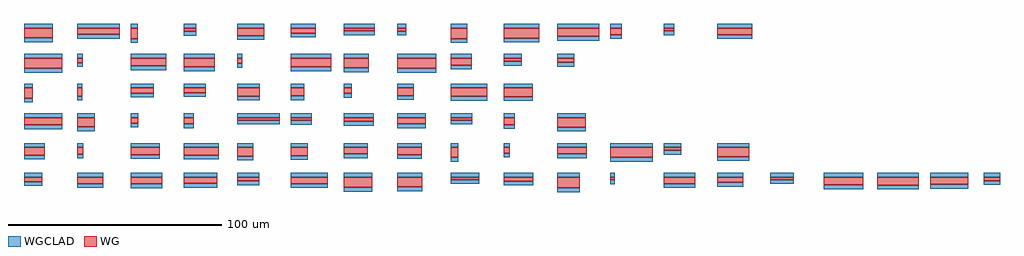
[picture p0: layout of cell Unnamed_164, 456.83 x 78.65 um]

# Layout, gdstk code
import gdstk
lib = gdstk.Library(unit=1e-6, precision=1e-09)
def R(c, l, rs):  # rectangles x0, y0, x1, y1
    for r in rs: c.add(gdstk.rectangle(r[:2], r[2:], *l))
WG = (1, 0)
WGCLAD = (111, 0)

straight_w2982_l16473_lw = lib.new_cell('straight_W2982_L16473_LWG_EWGSTD')
R(straight_w2982_l16473_lw, WG, [(0,-1.491,16.473,1.491)])
R(straight_w2982_l16473_lw, WGCLAD, [(0,-3.491,16.473,-1.491), (0,1.491,16.473,3.491)])

straight_w1274_l4901_lwg = lib.new_cell('straight_W1274_L4901_LWG_EWGSTD')
R(straight_w1274_l4901_lwg, WG, [(0,-0.637,4.901,0.637)])
R(straight_w1274_l4901_lwg, WGCLAD, [(0,-2.637,4.901,-0.637), (0,0.637,4.901,2.637)])

straight_w2978_l5165_lwg = lib.new_cell('straight_W2978_L5165_LWG_EWGSTD')
R(straight_w2978_l5165_lwg, WG, [(0,-1.489,5.165,1.489)])
R(straight_w2978_l5165_lwg, WGCLAD, [(0,-3.489,5.165,-1.489), (0,1.489,5.165,3.489)])

straight_w3844_l19599_lw = lib.new_cell('straight_W3844_L19599_LWG_EWGSTD')
R(straight_w3844_l19599_lw, WG, [(0,-1.922,19.599,1.922)])
R(straight_w3844_l19599_lw, WGCLAD, [(0,-3.922,19.599,-1.922), (0,1.922,19.599,3.922)])

straight_w4666_l16503_lw = lib.new_cell('straight_W4666_L16503_LWG_EWGSTD')
R(straight_w4666_l16503_lw, WG, [(0,-2.333,16.503,2.333)])
R(straight_w4666_l16503_lw, WGCLAD, [(0,-4.333,16.503,-2.333), (0,2.333,16.503,4.333)])

straight_w4852_l7796_lwg = lib.new_cell('straight_W4852_L7796_LWG_EWGSTD')
R(straight_w4852_l7796_lwg, WG, [(0,-2.426,7.796,2.426)])
R(straight_w4852_l7796_lwg, WGCLAD, [(0,-4.426,7.796,-2.426), (0,2.426,7.796,4.426)])

straight_w1374_l4314_lwg = lib.new_cell('straight_W1374_L4314_LWG_EWGSTD')
R(straight_w1374_l4314_lwg, WG, [(0,-0.687,4.314,0.687)])
R(straight_w1374_l4314_lwg, WGCLAD, [(0,-2.687,4.314,-0.687), (0,0.687,4.314,2.687)])

straight_w1218_l14391_lw = lib.new_cell('straight_W1218_L14391_LWG_EWGSTD')
R(straight_w1218_l14391_lw, WG, [(0,-0.609,14.391,0.609)])
R(straight_w1218_l14391_lw, WGCLAD, [(0,-2.609,14.391,-0.609), (0,0.609,14.391,2.609)])

straight_w2252_l11706_lw = lib.new_cell('straight_W2252_L11706_LWG_EWGSTD')
R(straight_w2252_l11706_lw, WG, [(0,-1.126,11.706,1.126)])
R(straight_w2252_l11706_lw, WGCLAD, [(0,-3.126,11.706,-1.126), (0,1.126,11.706,3.126)])

straight_w3446_l12726_lw = lib.new_cell('straight_W3446_L12726_LWG_EWGSTD')
R(straight_w3446_l12726_lw, WG, [(0,-1.723,12.726,1.723)])
R(straight_w3446_l12726_lw, WGCLAD, [(0,-3.723,12.726,-1.723), (0,1.723,12.726,3.723)])

straight_w1474_l5738_lwg = lib.new_cell('straight_W1474_L5738_LWG_EWGSTD')
R(straight_w1474_l5738_lwg, WG, [(0,-0.737,5.738,0.737)])
R(straight_w1474_l5738_lwg, WGCLAD, [(0,-2.737,5.738,-0.737), (0,0.737,5.738,2.737)])

straight_w4808_l3433_lwg = lib.new_cell('straight_W4808_L3433_LWG_EWGSTD')
R(straight_w4808_l3433_lwg, WG, [(0,-2.404,3.433,2.404)])
R(straight_w4808_l3433_lwg, WGCLAD, [(0,-4.404,3.433,-2.404), (0,2.404,3.433,4.404)])

straight_w2866_l19955_lw = lib.new_cell('straight_W2866_L19955_LWG_EWGSTD')
R(straight_w2866_l19955_lw, WG, [(0,-1.433,19.955,1.433)])
R(straight_w2866_l19955_lw, WGCLAD, [(0,-3.433,19.955,-1.433), (0,1.433,19.955,3.433)])

straight_w4454_l13430_lw = lib.new_cell('straight_W4454_L13430_LWG_EWGSTD')
R(straight_w4454_l13430_lw, WG, [(0,-2.227,13.43,2.227)])
R(straight_w4454_l13430_lw, WGCLAD, [(0,-4.227,13.43,-2.227), (0,2.227,13.43,4.227)])

straight_w2072_l7991_lwg = lib.new_cell('straight_W2072_L7991_LWG_EWGSTD')
R(straight_w2072_l7991_lwg, WG, [(0,-1.036,7.991,1.036)])
R(straight_w2072_l7991_lwg, WGCLAD, [(0,-3.036,7.991,-1.036), (0,1.036,7.991,3.036)])

straight_w1538_l8272_lwg = lib.new_cell('straight_W1538_L8272_LWG_EWGSTD')
R(straight_w1538_l8272_lwg, WG, [(0,-0.769,8.272,0.769)])
R(straight_w1538_l8272_lwg, WGCLAD, [(0,-2.769,8.272,-0.769), (0,0.769,8.272,2.769)])

straight_w3296_l10035_lw = lib.new_cell('straight_W3296_L10035_LWG_EWGSTD')
R(straight_w3296_l10035_lw, WG, [(0,-1.648,10.035,1.648)])
R(straight_w3296_l10035_lw, WGCLAD, [(0,-3.648,10.035,-1.648), (0,1.648,10.035,3.648)])

straight_w4866_l18319_lw = lib.new_cell('straight_W4866_L18319_LWG_EWGSTD')
R(straight_w4866_l18319_lw, WG, [(0,-2.433,18.319,2.433)])
R(straight_w4866_l18319_lw, WGCLAD, [(0,-4.433,18.319,-2.433), (0,2.433,18.319,4.433)])

straight_w4584_l11743_lw = lib.new_cell('straight_W4584_L11743_LWG_EWGSTD')
R(straight_w4584_l11743_lw, WG, [(0,-2.292,11.743,2.292)])
R(straight_w4584_l11743_lw, WGCLAD, [(0,-4.292,11.743,-2.292), (0,2.292,11.743,4.292)])

straight_w4130_l19123_lw = lib.new_cell('straight_W4130_L19123_LWG_EWGSTD')
R(straight_w4130_l19123_lw, WG, [(0,-2.065,19.123,2.065)])
R(straight_w4130_l19123_lw, WGCLAD, [(0,-4.065,19.123,-2.065), (0,2.065,19.123,4.065)])

straight_w3420_l11395_lw = lib.new_cell('straight_W3420_L11395_LWG_EWGSTD')
R(straight_w3420_l11395_lw, WG, [(0,-1.71,11.395,1.71)])
R(straight_w3420_l11395_lw, WGCLAD, [(0,-3.71,11.395,-1.71), (0,1.71,11.395,3.71)])

straight_w1166_l19788_lw = lib.new_cell('straight_W1166_L19788_LWG_EWGSTD')
R(straight_w1166_l19788_lw, WG, [(0,-0.583,19.788,0.583)])
R(straight_w1166_l19788_lw, WGCLAD, [(0,-2.583,19.788,-0.583), (0,0.583,19.788,2.583)])

straight_w3832_l10503_lw = lib.new_cell('straight_W3832_L10503_LWG_EWGSTD')
R(straight_w3832_l10503_lw, WG, [(0,-1.916,10.503,1.916)])
R(straight_w3832_l10503_lw, WGCLAD, [(0,-3.916,10.503,-1.916), (0,1.916,10.503,3.916)])

straight_w2982_l11087_lw = lib.new_cell('straight_W2982_L11087_LWG_EWGSTD')
R(straight_w2982_l11087_lw, WG, [(0,-1.491,11.087,1.491)])
R(straight_w2982_l11087_lw, WGCLAD, [(0,-3.491,11.087,-1.491), (0,1.491,11.087,3.491)])

straight_w2964_l4688_lwg = lib.new_cell('straight_W2964_L4688_LWG_EWGSTD')
R(straight_w2964_l4688_lwg, WG, [(0,-1.482,4.688,1.482)])
R(straight_w2964_l4688_lwg, WGCLAD, [(0,-3.482,4.688,-1.482), (0,1.482,4.688,3.482)])

straight_w2202_l10263_lw = lib.new_cell('straight_W2202_L10263_LWG_EWGSTD')
R(straight_w2202_l10263_lw, WG, [(0,-1.101,10.263,1.101)])
R(straight_w2202_l10263_lw, WGCLAD, [(0,-3.101,10.263,-1.101), (0,1.101,10.263,3.101)])

straight_w3824_l8001_lwg = lib.new_cell('straight_W3824_L8001_LWG_EWGSTD')
R(straight_w3824_l8001_lwg, WG, [(0,-1.912,8.001,1.912)])
R(straight_w3824_l8001_lwg, WGCLAD, [(0,-3.912,8.001,-1.912), (0,1.912,8.001,3.912)])

straight_w2530_l3603_lwg = lib.new_cell('straight_W2530_L3603_LWG_EWGSTD')
R(straight_w2530_l3603_lwg, WG, [(0,-1.265,3.603,1.265)])
R(straight_w2530_l3603_lwg, WGCLAD, [(0,-3.265,3.603,-1.265), (0,1.265,3.603,3.265)])

straight_w2478_l10864_lw = lib.new_cell('straight_W2478_L10864_LWG_EWGSTD')
R(straight_w2478_l10864_lw, WG, [(0,-1.239,10.864,1.239)])
R(straight_w2478_l10864_lw, WGCLAD, [(0,-3.239,10.864,-1.239), (0,1.239,10.864,3.239)])

straight_w4078_l7422_lwg = lib.new_cell('straight_W4078_L7422_LWG_EWGSTD')
R(straight_w4078_l7422_lwg, WG, [(0,-2.039,7.422,2.039)])
R(straight_w4078_l7422_lwg, WGCLAD, [(0,-4.039,7.422,-2.039), (0,2.039,7.422,4.039)])

straight_w4284_l8206_lwg = lib.new_cell('straight_W4284_L8206_LWG_EWGSTD')
R(straight_w4284_l8206_lwg, WG, [(0,-2.142,8.206,2.142)])
R(straight_w4284_l8206_lwg, WGCLAD, [(0,-4.142,8.206,-2.142), (0,2.142,8.206,4.142)])

straight_w3876_l2386_lwg = lib.new_cell('straight_W3876_L2386_LWG_EWGSTD')
R(straight_w3876_l2386_lwg, WG, [(0,-1.938,2.386,1.938)])
R(straight_w3876_l2386_lwg, WGCLAD, [(0,-3.938,2.386,-1.938), (0,1.938,2.386,3.938)])

straight_w3596_l16236_lw = lib.new_cell('straight_W3596_L16236_LWG_EWGSTD')
R(straight_w3596_l16236_lw, WG, [(0,-1.798,16.236,1.798)])
R(straight_w3596_l16236_lw, WGCLAD, [(0,-3.798,16.236,-1.798), (0,1.798,16.236,3.798)])

straight_w3388_l17858_lw = lib.new_cell('straight_W3388_L17858_LWG_EWGSTD')
R(straight_w3388_l17858_lw, WG, [(0,-1.694,17.858,1.694)])
R(straight_w3388_l17858_lw, WGCLAD, [(0,-3.694,17.858,-1.694), (0,1.694,17.858,3.694)])

straight_w4856_l4207_lwg = lib.new_cell('straight_W4856_L4207_LWG_EWGSTD')
R(straight_w4856_l4207_lwg, WG, [(0,-2.428,4.207,2.428)])
R(straight_w4856_l4207_lwg, WGCLAD, [(0,-4.428,4.207,-2.428), (0,2.428,4.207,4.428)])

straight_w3370_l13701_lw = lib.new_cell('straight_W3370_L13701_LWG_EWGSTD')
R(straight_w3370_l13701_lw, WG, [(0,-1.685,13.701,1.685)])
R(straight_w3370_l13701_lw, WGCLAD, [(0,-3.685,13.701,-1.685), (0,1.685,13.701,3.685)])

straight_w4942_l10684_lw = lib.new_cell('straight_W4942_L10684_LWG_EWGSTD')
R(straight_w4942_l10684_lw, WG, [(0,-2.471,10.684,2.471)])
R(straight_w4942_l10684_lw, WGCLAD, [(0,-4.471,10.684,-2.471), (0,2.471,10.684,4.471)])

straight_w4340_l15107_lw = lib.new_cell('straight_W4340_L15107_LWG_EWGSTD')
R(straight_w4340_l15107_lw, WG, [(0,-2.17,15.107,2.17)])
R(straight_w4340_l15107_lw, WGCLAD, [(0,-4.17,15.107,-2.17), (0,2.17,15.107,4.17)])

straight_w4420_l13500_lw = lib.new_cell('straight_W4420_L13500_LWG_EWGSTD')
R(straight_w4420_l13500_lw, WG, [(0,-2.21,13.5,2.21)])
R(straight_w4420_l13500_lw, WGCLAD, [(0,-4.21,13.5,-2.21), (0,2.21,13.5,4.21)])

straight_w3136_l2841_lwg = lib.new_cell('straight_W3136_L2841_LWG_EWGSTD')
R(straight_w3136_l2841_lwg, WG, [(0,-1.568,2.841,1.568)])
R(straight_w3136_l2841_lwg, WGCLAD, [(0,-3.568,2.841,-1.568), (0,1.568,2.841,3.568)])

straight_w1890_l13678_lw = lib.new_cell('straight_W1890_L13678_LWG_EWGSTD')
R(straight_w1890_l13678_lw, WG, [(0,-0.945,13.678,0.945)])
R(straight_w1890_l13678_lw, WGCLAD, [(0,-2.945,13.678,-0.945), (0,0.945,13.678,2.945)])

straight_w1420_l8153_lwg = lib.new_cell('straight_W1420_L8153_LWG_EWGSTD')
R(straight_w1420_l8153_lwg, WG, [(0,-0.71,8.153,0.71)])
R(straight_w1420_l8153_lwg, WGCLAD, [(0,-2.71,8.153,-0.71), (0,0.71,8.153,2.71)])

straight_w2068_l8479_lwg = lib.new_cell('straight_W2068_L8479_LWG_EWGSTD')
R(straight_w2068_l8479_lwg, WG, [(0,-1.034,8.479,1.034)])
R(straight_w2068_l8479_lwg, WGCLAD, [(0,-3.034,8.479,-1.034), (0,1.034,8.479,3.034)])

straight_w1268_l2094_lwg = lib.new_cell('straight_W1268_L2094_LWG_EWGSTD')
R(straight_w1268_l2094_lwg, WG, [(0,-0.634,2.094,0.634)])
R(straight_w1268_l2094_lwg, WGCLAD, [(0,-2.634,2.094,-0.634), (0,0.634,2.094,2.634)])

straight_w2966_l12081_lw = lib.new_cell('straight_W2966_L12081_LWG_EWGSTD')
R(straight_w2966_l12081_lw, WG, [(0,-1.483,12.081,1.483)])
R(straight_w2966_l12081_lw, WGCLAD, [(0,-3.483,12.081,-1.483), (0,1.483,12.081,3.483)])

straight_w3054_l14646_lw = lib.new_cell('straight_W3054_L14646_LWG_EWGSTD')
R(straight_w3054_l14646_lw, WG, [(0,-1.527,14.646,1.527)])
R(straight_w3054_l14646_lw, WGCLAD, [(0,-3.527,14.646,-1.527), (0,1.527,14.646,3.527)])

straight_w2410_l12255_lw = lib.new_cell('straight_W2410_L12255_LWG_EWGSTD')
R(straight_w2410_l12255_lw, WG, [(0,-1.205,12.255,1.205)])
R(straight_w2410_l12255_lw, WGCLAD, [(0,-3.205,12.255,-1.205), (0,1.205,12.255,3.205)])

straight_w3096_l14864_lw = lib.new_cell('straight_W3096_L14864_LWG_EWGSTD')
R(straight_w3096_l14864_lw, WG, [(0,-1.548,14.864,1.548)])
R(straight_w3096_l14864_lw, WGCLAD, [(0,-3.548,14.864,-1.548), (0,1.548,14.864,3.548)])

straight_w1684_l10253_lw = lib.new_cell('straight_W1684_L10253_LWG_EWGSTD')
R(straight_w1684_l10253_lw, WG, [(0,-0.842,10.253,0.842)])
R(straight_w1684_l10253_lw, WGCLAD, [(0,-2.842,10.253,-0.842), (0,0.842,10.253,2.842)])

straight_w3612_l18560_lw = lib.new_cell('straight_W3612_L18560_LWG_EWGSTD')
R(straight_w3612_l18560_lw, WG, [(0,-1.806,18.56,1.806)])
R(straight_w3612_l18560_lw, WGCLAD, [(0,-3.806,18.56,-1.806), (0,1.806,18.56,3.806)])

straight_w1108_l10926_lw = lib.new_cell('straight_W1108_L10926_LWG_EWGSTD')
R(straight_w1108_l10926_lw, WG, [(0,-0.554,10.926,0.554)])
R(straight_w1108_l10926_lw, WGCLAD, [(0,-2.554,10.926,-0.554), (0,0.554,10.926,2.554)])

straight_w2882_l15552_lw = lib.new_cell('straight_W2882_L15552_LWG_EWGSTD')
R(straight_w2882_l15552_lw, WG, [(0,-1.441,15.552,1.441)])
R(straight_w2882_l15552_lw, WGCLAD, [(0,-3.441,15.552,-1.441), (0,1.441,15.552,3.441)])

straight_w2994_l17303_lw = lib.new_cell('straight_W2994_L17303_LWG_EWGSTD')
R(straight_w2994_l17303_lw, WG, [(0,-1.497,17.303,1.497)])
R(straight_w2994_l17303_lw, WGCLAD, [(0,-3.497,17.303,-1.497), (0,1.497,17.303,3.497)])

straight_w3712_l19401_lw = lib.new_cell('straight_W3712_L19401_LWG_EWGSTD')
R(straight_w3712_l19401_lw, WG, [(0,-1.856,19.401,1.856)])
R(straight_w3712_l19401_lw, WGCLAD, [(0,-3.856,19.401,-1.856), (0,1.856,19.401,3.856)])

straight_w4722_l3595_lwg = lib.new_cell('straight_W4722_L3595_LWG_EWGSTD')
R(straight_w4722_l3595_lwg, WG, [(0,-2.361,3.595,2.361)])
R(straight_w4722_l3595_lwg, WGCLAD, [(0,-4.361,3.595,-2.361), (0,2.361,3.595,4.361)])

straight_w4748_l13363_lw = lib.new_cell('straight_W4748_L13363_LWG_EWGSTD')
R(straight_w4748_l13363_lw, WG, [(0,-2.374,13.363,2.374)])
R(straight_w4748_l13363_lw, WGCLAD, [(0,-4.374,13.363,-2.374), (0,2.374,13.363,4.374)])

straight_w3334_l17694_lw = lib.new_cell('straight_W3334_L17694_LWG_EWGSTD')
R(straight_w3334_l17694_lw, WG, [(0,-1.667,17.694,1.667)])
R(straight_w3334_l17694_lw, WGCLAD, [(0,-3.667,17.694,-1.667), (0,1.667,17.694,3.667)])

straight_w2660_l2858_lwg = lib.new_cell('straight_W2660_L2858_LWG_EWGSTD')
R(straight_w2660_l2858_lwg, WG, [(0,-1.33,2.858,1.33)])
R(straight_w2660_l2858_lwg, WGCLAD, [(0,-3.33,2.858,-1.33), (0,1.33,2.858,3.33)])

straight_w4590_l11706_lw = lib.new_cell('straight_W4590_L11706_LWG_EWGSTD')
R(straight_w4590_l11706_lw, WG, [(0,-2.295,11.706,2.295)])
R(straight_w4590_l11706_lw, WGCLAD, [(0,-4.295,11.706,-2.295), (0,2.295,11.706,4.295)])

straight_w1586_l7638_lwg = lib.new_cell('straight_W1586_L7638_LWG_EWGSTD')
R(straight_w1586_l7638_lwg, WG, [(0,-0.793,7.638,0.793)])
R(straight_w1586_l7638_lwg, WGCLAD, [(0,-2.793,7.638,-0.793), (0,0.793,7.638,2.793)])

straight_w2984_l13839_lw = lib.new_cell('straight_W2984_L13839_LWG_EWGSTD')
R(straight_w2984_l13839_lw, WG, [(0,-1.492,13.839,1.492)])
R(straight_w2984_l13839_lw, WGCLAD, [(0,-3.492,13.839,-1.492), (0,1.492,13.839,3.492)])

straight_w1172_l13404_lw = lib.new_cell('straight_W1172_L13404_LWG_EWGSTD')
R(straight_w1172_l13404_lw, WG, [(0,-0.586,13.404,0.586)])
R(straight_w1172_l13404_lw, WGCLAD, [(0,-2.586,13.404,-0.586), (0,0.586,13.404,2.586)])

straight_w3656_l9747_lwg = lib.new_cell('straight_W3656_L9747_LWG_EWGSTD')
R(straight_w3656_l9747_lwg, WG, [(0,-1.828,9.747,1.828)])
R(straight_w3656_l9747_lwg, WGCLAD, [(0,-3.828,9.747,-1.828), (0,1.828,9.747,3.828)])

straight_w4664_l19789_lw = lib.new_cell('straight_W4664_L19789_LWG_EWGSTD')
R(straight_w4664_l19789_lw, WG, [(0,-2.332,19.789,2.332)])
R(straight_w4664_l19789_lw, WGCLAD, [(0,-4.332,19.789,-2.332), (0,2.332,19.789,4.332)])

straight_w1264_l9926_lwg = lib.new_cell('straight_W1264_L9926_LWG_EWGSTD')
R(straight_w1264_l9926_lwg, WG, [(0,-0.632,9.926,0.632)])
R(straight_w1264_l9926_lwg, WGCLAD, [(0,-2.632,9.926,-0.632), (0,0.632,9.926,2.632)])

straight_w3746_l6488_lwg = lib.new_cell('straight_W3746_L6488_LWG_EWGSTD')
R(straight_w3746_l6488_lwg, WG, [(0,-1.873,6.488,1.873)])
R(straight_w3746_l6488_lwg, WGCLAD, [(0,-3.873,6.488,-1.873), (0,1.873,6.488,3.873)])

straight_w1796_l13928_lw = lib.new_cell('straight_W1796_L13928_LWG_EWGSTD')
R(straight_w1796_l13928_lw, WG, [(0,-0.898,13.928,0.898)])
R(straight_w1796_l13928_lw, WGCLAD, [(0,-2.898,13.928,-0.898), (0,0.898,13.928,2.898)])

straight_w2540_l3632_lwg = lib.new_cell('straight_W2540_L3632_LWG_EWGSTD')
R(straight_w2540_l3632_lwg, WG, [(0,-1.27,3.632,1.27)])
R(straight_w2540_l3632_lwg, WGCLAD, [(0,-3.27,3.632,-1.27), (0,1.27,3.632,3.27)])

straight_w2868_l13355_lw = lib.new_cell('straight_W2868_L13355_LWG_EWGSTD')
R(straight_w2868_l13355_lw, WG, [(0,-1.434,13.355,1.434)])
R(straight_w2868_l13355_lw, WGCLAD, [(0,-3.434,13.355,-1.434), (0,1.434,13.355,3.434)])

straight_w3592_l7687_lwg = lib.new_cell('straight_W3592_L7687_LWG_EWGSTD')
R(straight_w3592_l7687_lwg, WG, [(0,-1.796,7.687,1.796)])
R(straight_w3592_l7687_lwg, WGCLAD, [(0,-3.796,7.687,-1.796), (0,1.796,7.687,3.796)])

straight_w1212_l10063_lw = lib.new_cell('straight_W1212_L10063_LWG_EWGSTD')
R(straight_w1212_l10063_lw, WG, [(0,-0.606,10.063,0.606)])
R(straight_w1212_l10063_lw, WGCLAD, [(0,-2.606,10.063,-0.606), (0,0.606,10.063,2.606)])

straight_w3992_l17215_lw = lib.new_cell('straight_W3992_L17215_LWG_EWGSTD')
R(straight_w3992_l17215_lw, WG, [(0,-1.996,17.215,1.996)])
R(straight_w3992_l17215_lw, WGCLAD, [(0,-3.996,17.215,-1.996), (0,1.996,17.215,3.996)])

straight_w3302_l5087_lwg = lib.new_cell('straight_W3302_L5087_LWG_EWGSTD')
R(straight_w3302_l5087_lwg, WG, [(0,-1.651,5.087,1.651)])
R(straight_w3302_l5087_lwg, WGCLAD, [(0,-3.651,5.087,-1.651), (0,1.651,5.087,3.651)])

straight_w4116_l13564_lw = lib.new_cell('straight_W4116_L13564_LWG_EWGSTD')
R(straight_w4116_l13564_lw, WG, [(0,-2.058,13.564,2.058)])
R(straight_w4116_l13564_lw, WGCLAD, [(0,-4.058,13.564,-2.058), (0,2.058,13.564,4.058)])

straight_w4810_l17980_lw = lib.new_cell('straight_W4810_L17980_LWG_EWGSTD')
R(straight_w4810_l17980_lw, WG, [(0,-2.405,17.98,2.405)])
R(straight_w4810_l17980_lw, WGCLAD, [(0,-4.405,17.98,-2.405), (0,2.405,17.98,4.405)])

straight_w2144_l2530_lwg = lib.new_cell('straight_W2144_L2530_LWG_EWGSTD')
R(straight_w2144_l2530_lwg, WG, [(0,-1.072,2.53,1.072)])
R(straight_w2144_l2530_lwg, WGCLAD, [(0,-3.072,2.53,-1.072), (0,1.072,2.53,3.072)])

straight_w3622_l16588_lw = lib.new_cell('straight_W3622_L16588_LWG_EWGSTD')
R(straight_w3622_l16588_lw, WG, [(0,-1.811,16.588,1.811)])
R(straight_w3622_l16588_lw, WGCLAD, [(0,-3.811,16.588,-1.811), (0,1.811,16.588,3.811)])

straight_w4168_l14487_lw = lib.new_cell('straight_W4168_L14487_LWG_EWGSTD')
R(straight_w4168_l14487_lw, WG, [(0,-2.084,14.487,2.084)])
R(straight_w4168_l14487_lw, WGCLAD, [(0,-4.084,14.487,-2.084), (0,2.084,14.487,4.084)])

straight_w2496_l2415_lwg = lib.new_cell('straight_W2496_L2415_LWG_EWGSTD')
R(straight_w2496_l2415_lwg, WG, [(0,-1.248,2.415,1.248)])
R(straight_w2496_l2415_lwg, WGCLAD, [(0,-3.248,2.415,-1.248), (0,1.248,2.415,3.248)])

unnamed_164 = lib.new_cell('Unnamed_164')
unnamed_164.add(gdstk.Reference(straight_w2982_l16473_lw, (336.893,73.19)))
unnamed_164.add(gdstk.Reference(straight_w1274_l4901_lwg, (311.938,74.044)))
unnamed_164.add(gdstk.Reference(straight_w2978_l5165_lwg, (286.983,73.192)))
unnamed_164.add(gdstk.Reference(straight_w3844_l19599_lw, (262.028,72.759)))
unnamed_164.add(gdstk.Reference(straight_w4666_l16503_lw, (237.073,72.348)))
unnamed_164.add(gdstk.Reference(straight_w4852_l7796_lwg, (212.118,72.255)))
unnamed_164.add(gdstk.Reference(straight_w1374_l4314_lwg, (187.163,73.994)))
unnamed_164.add(gdstk.Reference(straight_w1218_l14391_lw, (162.208,74.072)))
unnamed_164.add(gdstk.Reference(straight_w2252_l11706_lw, (137.253,73.555)))
unnamed_164.add(gdstk.Reference(straight_w3446_l12726_lw, (112.298,72.958)))
unnamed_164.add(gdstk.Reference(straight_w1474_l5738_lwg, (87.343,73.944)))
unnamed_164.add(gdstk.Reference(straight_w4808_l3433_lwg, (62.388,72.277)))
unnamed_164.add(gdstk.Reference(straight_w2866_l19955_lw, (37.433,73.248)))
unnamed_164.add(gdstk.Reference(straight_w4454_l13430_lw, (12.478,72.454)))
unnamed_164.add(gdstk.Reference(straight_w2072_l7991_lwg, (262.028,59.703)))
unnamed_164.add(gdstk.Reference(straight_w1538_l8272_lwg, (237.073,59.97)))
unnamed_164.add(gdstk.Reference(straight_w3296_l10035_lw, (212.118,59.091)))
unnamed_164.add(gdstk.Reference(straight_w4866_l18319_lw, (187.163,58.306)))
unnamed_164.add(gdstk.Reference(straight_w4584_l11743_lw, (162.208,58.447)))
unnamed_164.add(gdstk.Reference(straight_w4130_l19123_lw, (137.253,58.674)))
unnamed_164.add(gdstk.Reference(straight_w3420_l11395_lw, (187.163,17.203)))
unnamed_164.add(gdstk.Reference(straight_w1166_l19788_lw, (112.298,32.272)))
unnamed_164.add(gdstk.Reference(straight_w3832_l10503_lw, (112.298,44.881)))
unnamed_164.add(gdstk.Reference(straight_w2982_l11087_lw, (162.208,17.422)))
unnamed_164.add(gdstk.Reference(straight_w2964_l4688_lwg, (87.343,31.373)))
unnamed_164.add(gdstk.Reference(straight_w2202_l10263_lw, (87.343,45.696)))
unnamed_164.add(gdstk.Reference(straight_w3824_l8001_lwg, (137.253,17.001)))
unnamed_164.add(gdstk.Reference(straight_w2530_l3603_lwg, (62.388,31.59)))
unnamed_164.add(gdstk.Reference(straight_w2478_l10864_lw, (62.388,45.558)))
unnamed_164.add(gdstk.Reference(straight_w4078_l7422_lwg, (112.298,16.874)))
unnamed_164.add(gdstk.Reference(straight_w4284_l8206_lwg, (37.433,30.713)))
unnamed_164.add(gdstk.Reference(straight_w3876_l2386_lwg, (37.433,44.859)))
unnamed_164.add(gdstk.Reference(straight_w3596_l16236_lw, (87.343,17.115)))
unnamed_164.add(gdstk.Reference(straight_w3388_l17858_lw, (12.478,31.161)))
unnamed_164.add(gdstk.Reference(straight_w4856_l4207_lwg, (12.478,44.369)))
unnamed_164.add(gdstk.Reference(straight_w3370_l13701_lw, (62.388,17.228)))
unnamed_164.add(gdstk.Reference(straight_w4942_l10684_lw, (262.028,2.5)))
unnamed_164.add(gdstk.Reference(straight_w4340_l15107_lw, (336.893,16.743)))
unnamed_164.add(gdstk.Reference(straight_w4420_l13500_lw, (262.028,30.645)))
unnamed_164.add(gdstk.Reference(straight_w3136_l2841_lwg, (37.433,17.345)))
unnamed_164.add(gdstk.Reference(straight_w1890_l13678_lw, (237.073,4.026)))
unnamed_164.add(gdstk.Reference(straight_w1420_l8153_lwg, (311.938,18.203)))
unnamed_164.add(gdstk.Reference(straight_w2068_l8479_lwg, (12.478,3.937)))
unnamed_164.add(gdstk.Reference(straight_w1268_l2094_lwg, (286.983,4.337)))
unnamed_164.add(gdstk.Reference(straight_w2966_l12081_lw, (37.433,3.488)))
unnamed_164.add(gdstk.Reference(straight_w3054_l14646_lw, (311.938,3.444)))
unnamed_164.add(gdstk.Reference(straight_w2410_l12255_lw, (336.893,3.766)))
unnamed_164.add(gdstk.Reference(straight_w3096_l14864_lw, (62.388,3.423)))
unnamed_164.add(gdstk.Reference(straight_w1684_l10253_lw, (112.298,4.129)))
unnamed_164.add(gdstk.Reference(straight_w3612_l18560_lw, (386.803,3.165)))
unnamed_164.add(gdstk.Reference(straight_w1108_l10926_lw, (361.848,4.417)))
unnamed_164.add(gdstk.Reference(straight_w2882_l15552_lw, (87.343,3.53)))
unnamed_164.add(gdstk.Reference(straight_w2994_l17303_lw, (137.253,3.474)))
unnamed_164.add(gdstk.Reference(straight_w3712_l19401_lw, (411.758,3.115)))
unnamed_164.add(gdstk.Reference(straight_w4722_l3595_lwg, (212.118,16.552)))
unnamed_164.add(gdstk.Reference(straight_w4748_l13363_lw, (162.208,2.597)))
unnamed_164.add(gdstk.Reference(straight_w3334_l17694_lw, (436.713,3.304)))
unnamed_164.add(gdstk.Reference(straight_w2660_l2858_lwg, (237.073,17.583)))
unnamed_164.add(gdstk.Reference(straight_w4590_l11706_lw, (187.163,2.676)))
unnamed_164.add(gdstk.Reference(straight_w1586_l7638_lwg, (461.668,4.178)))
unnamed_164.add(gdstk.Reference(straight_w2984_l13839_lw, (262.028,17.421)))
unnamed_164.add(gdstk.Reference(straight_w1172_l13404_lw, (212.118,4.385)))
unnamed_164.add(gdstk.Reference(straight_w3656_l9747_lwg, (12.478,17.085)))
unnamed_164.add(gdstk.Reference(straight_w4664_l19789_lw, (286.983,16.581)))
unnamed_164.add(gdstk.Reference(straight_w1264_l9926_lwg, (137.253,32.223)))
unnamed_164.add(gdstk.Reference(straight_w3746_l6488_lwg, (137.253,44.924)))
unnamed_164.add(gdstk.Reference(straight_w1796_l13928_lw, (162.208,31.957)))
unnamed_164.add(gdstk.Reference(straight_w2540_l3632_lwg, (162.208,45.527)))
unnamed_164.add(gdstk.Reference(straight_w2868_l13355_lw, (187.163,31.421)))
unnamed_164.add(gdstk.Reference(straight_w3592_l7687_lwg, (187.163,45.001)))
unnamed_164.add(gdstk.Reference(straight_w1212_l10063_lw, (212.118,32.249)))
unnamed_164.add(gdstk.Reference(straight_w3992_l17215_lw, (212.118,44.801)))
unnamed_164.add(gdstk.Reference(straight_w3302_l5087_lwg, (237.073,31.204)))
unnamed_164.add(gdstk.Reference(straight_w4116_l13564_lw, (237.073,44.739)))
unnamed_164.add(gdstk.Reference(straight_w4810_l17980_lw, (12.478,58.334)))
unnamed_164.add(gdstk.Reference(straight_w2144_l2530_lwg, (37.433,59.667)))
unnamed_164.add(gdstk.Reference(straight_w3622_l16588_lw, (62.388,58.928)))
unnamed_164.add(gdstk.Reference(straight_w4168_l14487_lw, (87.343,58.655)))
unnamed_164.add(gdstk.Reference(straight_w2496_l2415_lwg, (112.298,59.491)))

lib.write_gds('Unnamed_164.gds')
